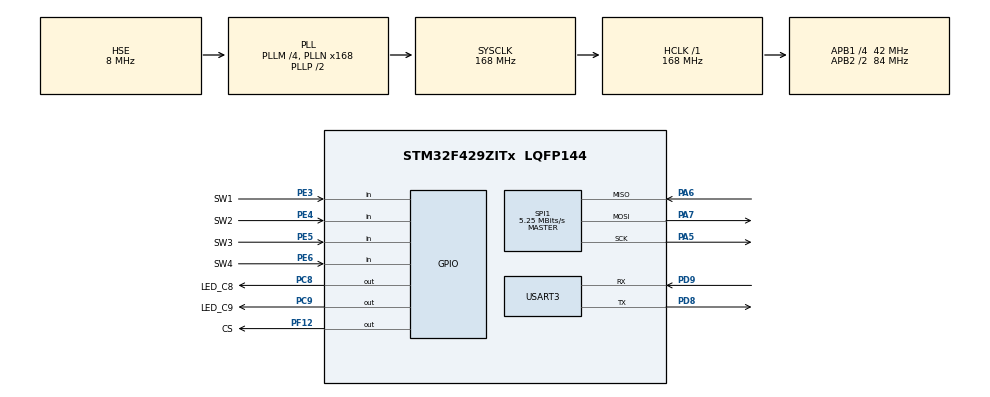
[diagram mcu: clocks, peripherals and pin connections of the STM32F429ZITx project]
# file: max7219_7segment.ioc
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FREERTOS.Tasks01=defaultTask,24,128,StartDefaultTask,Default,NULL,Dynamic,NULL,NULL
Mcu.Family=STM32F4
Mcu.Name=STM32F429ZITx
Mcu.Package=LQFP144
NVIC.PriorityGroup=NVIC_PRIORITYGROUP_4
PA13.Mode=Serial_Wire
PA13.Signal=SYS_JTMS-SWDIO
PA14.Mode=Serial_Wire
PA14.Signal=SYS_JTCK-SWCLK
PA5.Mode=Full_Duplex_Master
PA5.Signal=SPI1_SCK
PA6.Mode=Full_Duplex_Master
PA6.Signal=SPI1_MISO
PA7.Mode=Full_Duplex_Master
PA7.Signal=SPI1_MOSI
PC8.GPIO_Label=LED_C8
PC8.Signal=GPIO_Output
PC9.GPIO_Label=LED_C9
PC9.Signal=GPIO_Output
PD8.Mode=Asynchronous
PD8.Signal=USART3_TX
PD9.Mode=Asynchronous
PD9.Signal=USART3_RX
PE3.GPIO_Label=SW1
PE3.Signal=GPIO_Input
PE4.GPIO_Label=SW2
PE4.Signal=GPIO_Input
PE5.GPIO_Label=SW3
PE5.Signal=GPIO_Input
PE6.GPIO_Label=SW4
PE6.Signal=GPIO_Input
PF12.GPIO_Label=CS
PF12.Signal=GPIO_Output
PH0/OSC_IN.Mode=HSE-External-Clock-Source
PH0/OSC_IN.Signal=RCC_OSC_IN
PH1/OSC_OUT.Mode=HSE-External-Clock-Source
PH1/OSC_OUT.Signal=RCC_OSC_OUT
ProjectManager.HeapSize=0x200
ProjectManager.StackSize=0x400
ProjectManager.TargetToolchain=MDK-ARM V5.32
RCC.48MHZClocksFreq_Value=48000000
RCC.AHBFreq_Value=168000000
RCC.APB1CLKDivider=RCC_HCLK_DIV4
RCC.APB1Freq_Value=42000000
RCC.APB1TimFreq_Value=84000000
RCC.APB2CLKDivider=RCC_HCLK_DIV2
RCC.APB2Freq_Value=84000000
RCC.APB2TimCLKDivider=2
RCC.APB2TimFreq_Value=168000000
RCC.CortexFreq_Value=168000000
RCC.HCLKFreq_Value=168000000
RCC.HSE_VALUE=8000000
RCC.HSI_VALUE=16000000
RCC.LSE_VALUE=32768
RCC.PLLM=4
RCC.PLLMUL=RCC_PLL_MUL9
RCC.PLLN=168
RCC.PLLQ=7
RCC.PLLSourceVirtual=RCC_PLLSOURCE_HSE
RCC.PRESCALERUSB=RCC_USBCLKSOURCE_PLL_DIV1_5
RCC.SYSCLKFreq_VALUE=168000000
RCC.SYSCLKSource=RCC_SYSCLKSOURCE_PLLCLK
RCC.SYSCLKSourceVirtual=RCC_SYSCLKSOURCE_PLLCLK
RCC.USBFreq_Value=48000000
RCC.VCOOutputFreq_Value=336000000
SPI1.BaudRatePrescaler=SPI_BAUDRATEPRESCALER_16
SPI1.CalculateBaudRate=5.25 MBits/s
SPI1.DataSize=SPI_DATASIZE_16BIT
SPI1.Direction=SPI_DIRECTION_2LINES
SPI1.Mode=SPI_MODE_MASTER
SPI1.VirtualType=VM_MASTER
USART3.VirtualMode=VM_ASYNC
VP_FREERTOS_VS_CMSIS_V2.Mode=CMSIS_V2
board=NUCLEO-F429ZI

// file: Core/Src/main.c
/* USER CODE BEGIN Header */
/**
  ******************************************************************************
  * @file           : main.c
  * @brief          : Main program body
  ******************************************************************************
  * @attention
  *
  * Copyright (c) 2024 STMicroelectronics.
  * All rights reserved.
  *
  * This software is licensed under terms that can be found in the LICENSE file
  * in the root directory of this software component.
  * If no LICENSE file comes with this software, it is provided AS-IS.
  *
  ******************************************************************************
  */
/* USER CODE END Header */
#include "main.h"
#include "cmsis_os.h"
#include "spi.h"
#include "usart.h"
#include "gpio.h"

/* USER CODE BEGIN Includes */
#include "max7219_7segment.h"
#include "stdio.h"
#include "stdbool.h"
#include "FreeRTOS.h"
#include "task.h"
#include "queue.h"
/* USER CODE END Includes */

/* USER CODE BEGIN PV */
TaskHandle_t handle7Segment;
TaskHandle_t handleBtn;

QueueHandle_t queueSwitch;
//QueueHandle_t queueTimer;
/* USER CODE END PV */

void SystemClock_Config(void);

/* USER CODE BEGIN 0 */
void task7Segment(void *pvParm){
	uint8_t data[9];
	uint32_t stuID = 11217003;
	uint32_t defaultNum = 12345678;
	uint8_t displayMode = 0;
	while(1){
		uint32_t counter = xTaskGetTickCount()/1000;

		if(counter >= 99999999){
			counter = 99999999;
		}

		xQueueReceiveFromISR(queueSwitch, &displayMode, NULL);

		switch(displayMode){
				case 0:
					snprintf((char *)data, 9, "%8d", defaultNum);
					break;

				case 1:
					snprintf((char *)data, 9, "%8d", stuID);
					break;

				case 2:
					snprintf((char *)data, 9, "%8d", counter);
					break;

				default:
					snprintf((char *)data, 9, "%8d", defaultNum);
					break;
			}

		for(uint8_t i = 0;i<8;i++){
			Write_Max7219(8-i, data[i]);
		}

		if((counter % 10 == 0) && (counter > 0)){
			HAL_GPIO_TogglePin(LED_C8_GPIO_Port, LED_C8_Pin);
		}else HAL_GPIO_WritePin(LED_C8_GPIO_Port, LED_C8_Pin, 0);

		vTaskDelay(100);
	}
}

/*
void taskBtn(void *pvParm){
	uint32_t preMS = 0;
	uint8_t mode = 0;

	while(1){
		//sw1
		if(HAL_GPIO_ReadPin(SW1_GPIO_Port, SW1_Pin)){
			uint32_t pressDurationSW1 = xTaskGetTickCount() - preMS;
			if(pressDurationSW1 < 50)continue;
			else{
				mode = 0;
				printf("display mode:default \r\n");
				xQueueSend(queueSwitch, &mode, pdMS_TO_TICKS(100));
			}
		}

		//sw2
		if(HAL_GPIO_ReadPin(SW2_GPIO_Port, SW2_Pin)){
			uint32_t pressDurationSW2 = xTaskGetTickCount() - preMS;
			if(pressDurationSW2 < 50)continue;
			else {
				mode = 1;
				printf("display mode:student id \r\n");
				xQueueSend(queueSwitch, &mode, pdMS_TO_TICKS(100));
			}
		}

		//sw3
		if(!HAL_GPIO_ReadPin(SW3_GPIO_Port, SW3_Pin)){
			uint32_t pressDurationSW3 = xTaskGetTickCount() - preMS;
			if(pressDurationSW3 < 50)continue;
			else{
				mode = 2;
				printf("display mode:system startup timer \r\n");
				xQueueSend(queueSwitch, &mode, pdMS_TO_TICKS(100));
			}
		}

		//sw4
		if(!HAL_GPIO_ReadPin(SW4_GPIO_Port, SW4_Pin)){
			uint32_t pressDurationSW4 = xTaskGetTickCount() - preMS;
			if(pressDurationSW4 < 50)continue;
			else{
				mode = 3;
				printf("display mode:reserved, back to default \r\n");
				xQueueSend(queueSwitch, &mode, pdMS_TO_TICKS(100));
			}
		}

		//set preMs
		preMS = xTaskGetTickCount();
	}
}
*/

/****
sw1, 2 -> rising edge
sw3, 4 -> falling edge
****/
void HAL_GPIO_EXTI_Callback(uint16_t GPIO_Pin){
	uint8_t mode = 0;

	switch(GPIO_Pin){
		//sw1 PE3
		case GPIO_PIN_3:
		{
			if(HAL_GPIO_ReadPin(SW1_GPIO_Port, SW1_Pin) == 1){
				mode = 0;
				printf("display mode:default \r\n");
				xQueueSendFromISR(queueSwitch, &mode, NULL);
			}
			break;
		}

		//sw2 PE4
		case GPIO_PIN_4:
		{
			if(HAL_GPIO_ReadPin(SW2_GPIO_Port, SW2_Pin) == 1){
				mode = 1;
				printf("display mode:student id \r\n");
				xQueueSendFromISR(queueSwitch, &mode, NULL);
			}
			break;
		}

		//sw3 PE5
		case GPIO_PIN_5:
		{
			if(HAL_GPIO_ReadPin(SW3_GPIO_Port, SW3_Pin) == 0){
				mode = 2;
				printf("display mode:system startup timer \r\n");
				xQueueSendFromISR(queueSwitch, &mode, NULL);
			}
			break;
		}

		//sw4 PE6
		case GPIO_PIN_6:
		{
			if(HAL_GPIO_ReadPin(SW4_GPIO_Port, SW4_Pin) == 0){
				mode = 3;
				printf("display mode:reserved, back to default \r\n");
				xQueueSendFromISR(queueSwitch, &mode, NULL);
			}
			break;
		}

		default:
			mode = 0;
			xQueueSendFromISR(queueSwitch, &mode, NULL);
			printf("unknown irq happend \r\n");
			break;
	}
}

/* USER CODE END 0 */

int main(void)
{

  /* MCU Configuration--------------------------------------------------------*/

  /* Reset of all peripherals, Initializes the Flash interface and the Systick. */
  HAL_Init();

  /* Configure the system clock */
  SystemClock_Config();

  /* Initialize all configured peripherals */
  MX_GPIO_Init();
  MX_SPI1_Init();
  MX_USART3_UART_Init();
  /* USER CODE BEGIN 2 */
	Init_Max7219();
	printf("init success \r\n");
	queueSwitch = xQueueCreate(3, sizeof(uint8_t));

	xTaskCreate(task7Segment, "7segment", 128, NULL, 1, &handle7Segment);
	//xTaskCreate(taskBtn, "btn_scan", 128, NULL, 1, &handleBtn);

	printf("start scheduler \r\n");
	printf("display mode:default \r\n");

	vTaskStartScheduler();
  /* USER CODE END 2 */

  /* Init scheduler */

  /* Start scheduler */

  /* We should never get here as control is now taken by the scheduler */
  /* Infinite loop */
  while (1)
  {

  }
}

void SystemClock_Config(void)
{
  RCC_OscInitTypeDef RCC_OscInitStruct = {0};
  RCC_ClkInitTypeDef RCC_ClkInitStruct = {0};

  /** Configure the main internal regulator output voltage
  */
  __HAL_RCC_PWR_CLK_ENABLE();
  __HAL_PWR_VOLTAGESCALING_CONFIG(PWR_REGULATOR_VOLTAGE_SCALE1);

  /** Initializes the RCC Oscillators according to the specified parameters
  * in the RCC_OscInitTypeDef structure.
  */
  RCC_OscInitStruct.OscillatorType = RCC_OSCILLATORTYPE_HSE;
  RCC_OscInitStruct.HSEState = RCC_HSE_BYPASS;
  RCC_OscInitStruct.PLL.PLLState = RCC_PLL_ON;
  RCC_OscInitStruct.PLL.PLLSource = RCC_PLLSOURCE_HSE;
  RCC_OscInitStruct.PLL.PLLM = 4;
  RCC_OscInitStruct.PLL.PLLN = 168;
  RCC_OscInitStruct.PLL.PLLP = RCC_PLLP_DIV2;
  RCC_OscInitStruct.PLL.PLLQ = 7;
  if (HAL_RCC_OscConfig(&RCC_OscInitStruct) != HAL_OK)
  {
    Error_Handler();
  }

  /** Initializes the CPU, AHB and APB buses clocks
  */
  RCC_ClkInitStruct.ClockType = RCC_CLOCKTYPE_HCLK|RCC_CLOCKTYPE_SYSCLK
                              |RCC_CLOCKTYPE_PCLK1|RCC_CLOCKTYPE_PCLK2;
  RCC_ClkInitStruct.SYSCLKSource = RCC_SYSCLKSOURCE_PLLCLK;
  RCC_ClkInitStruct.AHBCLKDivider = RCC_SYSCLK_DIV1;
  RCC_ClkInitStruct.APB1CLKDivider = RCC_HCLK_DIV4;
  RCC_ClkInitStruct.APB2CLKDivider = RCC_HCLK_DIV2;

  if (HAL_RCC_ClockConfig(&RCC_ClkInitStruct, FLASH_LATENCY_5) != HAL_OK)
  {
    Error_Handler();
  }
}

void Error_Handler(void)
{
  __disable_irq();
  while (1)
  {
  }
}
